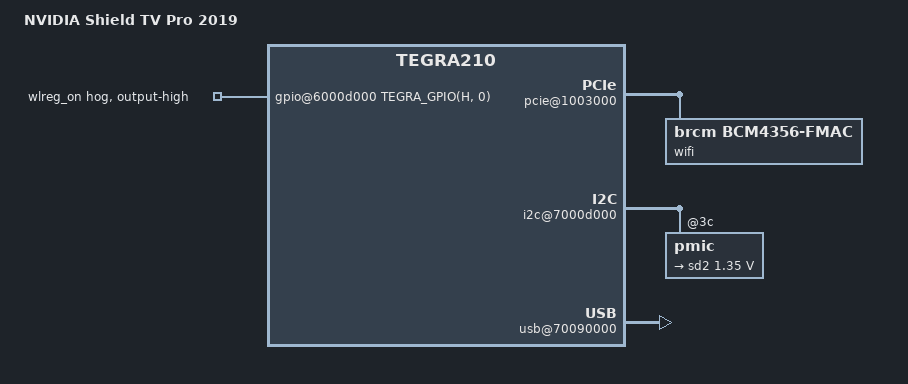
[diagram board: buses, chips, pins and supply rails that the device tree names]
// SPDX-License-Identifier: GPL-2.0
/dts-v1/;

#include "tegra210b01.dtsi"
#include "tegra210-p2894.dtsi"

/ {
	model = "NVIDIA Shield TV Pro 2019";
	compatible = "nvidia,p2894-2551-b00", "nvidia,darcy", "nvidia,tegra210b01",
		"nvidia,tegra210";

	pcie@1003000 {
		pci@1,0 {
			phys = <&{/padctl@7009f000/pads/pcie/lanes/pcie-3}>,
			       <&{/padctl@7009f000/pads/pcie/lanes/pcie-2}>;
			phy-names = "pcie-0", "pcie-1";
			status = "okay";

			wifi@0,0 {
				compatible = "brcm,bcm4356-fmac", "brcm,bcm4329-fmac";
			};
		};
	};

	gpio@6000d000 {
		wlreg-hog {
			gpio-hog;
			gpios = <TEGRA_GPIO(H, 0) GPIO_ACTIVE_HIGH>;
			output-high;
			line-name = "wlreg_on";
		};
	};

	pinmux@700008d4 {
		pinmux {
			pex_l0_rst_n_pa0 {
				nvidia,function = "pe0";
				nvidia,pull = <TEGRA_PIN_PULL_UP>;
				nvidia,tristate = <TEGRA_PIN_DISABLE>;
			};
			pex_l0_clkreq_n_pa1 {
				nvidia,pull = <TEGRA_PIN_PULL_UP>;
				nvidia,io-hv = <TEGRA_PIN_DISABLE>;
			};
			pex_wake_n_pa2 {
				nvidia,pull = <TEGRA_PIN_PULL_UP>;
				nvidia,tristate = <TEGRA_PIN_ENABLE>;
				nvidia,io-hv = <TEGRA_PIN_DISABLE>;
			};
			wifi_wake_ap_ph2 {
				nvidia,pull = <TEGRA_PIN_PULL_NONE>;
			};
			pz1 {
				nvidia,pull = <TEGRA_PIN_PULL_UP>;
			};
		};
	};

	i2c@7000d000 {
		pmic@3c {
			regulators {
				sd2 {
					regulator-min-microvolt = <1350000>;
					regulator-max-microvolt = <1350000>;
				};
			};
		};
	};

	usb@70090000 {
		phys = <&{/padctl@7009f000/pads/usb2/lanes/usb2-0}>,
		       <&{/padctl@7009f000/pads/usb2/lanes/usb2-2}>,
		       <&{/padctl@7009f000/pads/pcie/lanes/pcie-5}>,
		       <&{/padctl@7009f000/pads/pcie/lanes/pcie-4}>;
		phy-names = "usb2-0", "usb2-2", "usb3-0", "usb3-1";
		dvddio-pex-supply = <&max77620_ldo1>;
		hvddio-pex-supply = <&max77620_sd3>;
		avdd-usb-supply = <&vdd_3v3>;

		status = "okay";
	};

	padctl@7009f000 {
		pads {
			pcie {
				lanes {
					pcie-1 {
						nvidia,function = "usb3-ss";
					};

					pcie-4 {
						nvidia,function = "usb3-ss";
					};

					pcie-6 {
						/delete-property/ nvidia,function;
						status = "disabled";
					};
				};
			};
		};
	};

	usb@700d0000 {
		phys = <&{/padctl@7009f000/pads/usb2/lanes/usb2-0}>,
		       <&{/padctl@7009f000/pads/pcie/lanes/pcie-5}>;
	};
};
